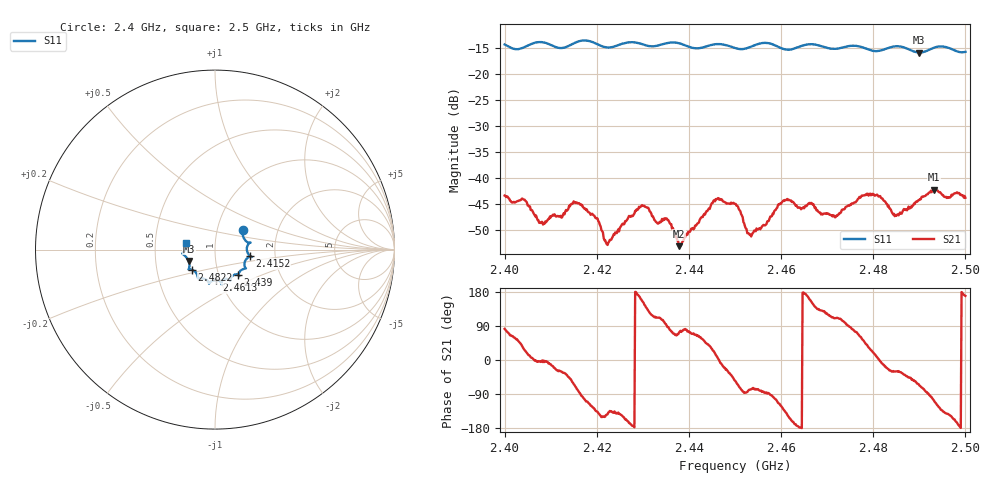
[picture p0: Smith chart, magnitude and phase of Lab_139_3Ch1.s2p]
# Hz S RI R 50
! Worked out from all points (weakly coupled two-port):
!   601 points, 2.4 GHz to 2.5 GHz, reference 50 ohm
!   highest |S21| = -42.26 dB at 2.4932 GHz (marker M1); lowest = -53.1 dB at 2.4378 GHz (marker M2)
!   lowest |S11| = -15.9 dB at 2.49 GHz (marker M3), VSWR 1.38, Z = 36.9 - j4.83 ohm
!   |S11| at or under -10 dB: start of sweep to end of sweep
!   S12 and S22 are empty: the file has one direction only
!   S11 on the Smith chart (normalised r, x): 2.4 GHz: 1.33, +0.31; 2.4152 GHz: 1.48, -0.11; 2.439 GHz: 1.24, -0.36; 2.4613 GHz: 0.96, -0.34; 2.4822 GHz: 0.76, -0.17; 2.5 GHz: 0.72, +0.05
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2.4e9  0.1561 0.1113  0.000933 0.00671  0 0  0 0
2.408167e9  0.1977 0.0394  0.00378 -8.28e-05  0 0  0 0
2.415167e9  0.1947 -0.0358  0.00238 -0.0053  0 0  0 0
2.416667e9  0.2043 -0.0416  -0.000439 -0.00545  0 0  0 0
2.422167e9  0.1688 -0.0614  -0.00188 -0.00134  0 0  0 0
2.429667e9  0.1623 -0.1069  -0.00506 0.00188  0 0  0 0
2.433333e9  0.1331 -0.1325  -0.00134 0.00338  0 0  0 0
2.435333e9  0.1333 -0.1461  0.000199 0.00395  0 0  0 0
2.437833e9  0.1343 -0.1443  0.000693 0.0021  0 0  0 0
2.439e9  0.1282 -0.1394  0.000445 0.00262  0 0  0 0
2.445833e9  0.0846 -0.1733  0.0061 0.00146  0 0  0 0
2.45e9  0.0685 -0.1636  0.00326 -0.00459  0 0  0 0
2.453333e9  0.0369 -0.1777  0.00059 -0.0028  0 0  0 0
2.461333e9  0.00762 -0.1706  -0.00508 -0.0037  0 0  0 0
2.466667e9  -0.0331 -0.19  -0.00505 0.00269  0 0  0 0
2.471667e9  -0.0612 -0.1626  -0.00145 0.00393  0 0  0 0
2.478333e9  -0.0977 -0.1457  0.00504 0.00475  0 0  0 0
2.482167e9  -0.1284 -0.1122  0.00599 -0.00132  0 0  0 0
2.483333e9  -0.1396 -0.1106  0.00491 -0.00226  0 0  0 0
2.49e9  -0.1471 -0.0638  0.0024 -0.00565  0 0  0 0
2.493167e9  -0.1763 -0.0271  -0.0022 -0.00739  0 0  0 0
2.5e9  -0.159 0.034  -0.00634 0.00121  0 0  0 0
